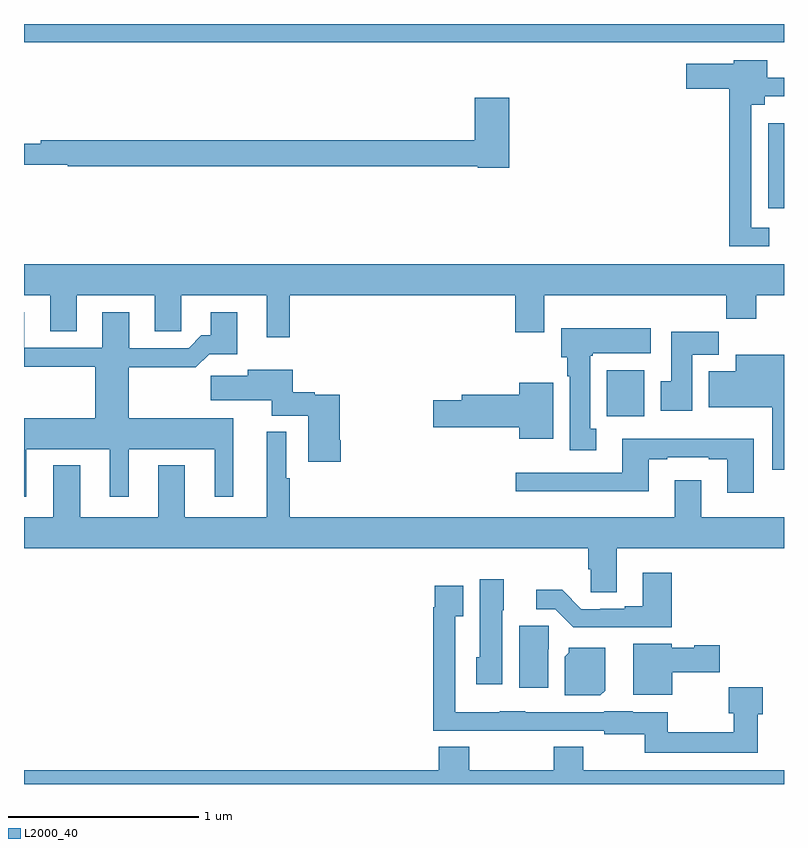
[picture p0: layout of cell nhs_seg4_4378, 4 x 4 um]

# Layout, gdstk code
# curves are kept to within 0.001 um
import gdstk
lib = gdstk.Library(unit=1e-6, precision=1e-09)
def R(c, l, rs):  # rectangles x0, y0, x1, y1
    for r in rs: c.add(gdstk.rectangle(r[:2], r[2:], *l))
def P(c, l, *ps):  # polygons
    for p in ps: c.add(gdstk.Polygon(p, *l))
L2000_40 = (2000, 40)

nhs_seg4_4378 = lib.new_cell('nhs_seg4_4378')
R(nhs_seg4_4378, L2000_40, [(348.068,810.836,348.265,811.078), (348.917,811.929,349,812.377), (345,812.804,349,812.9)])
P(nhs_seg4_4378, L2000_40, [(348.922,811.827),(348.828,811.827),(348.828,812.474),(348.898,812.474),(348.898,812.52),(349,812.52),(349,812.616),(348.913,812.616),(348.913,812.71),(348.735,812.71),(348.735,812.692),(348.486,812.692),(348.486,812.558),(348.712,812.558),(348.712,811.731),(348.922,811.731)],
  [(347.555,812.512),(347.372,812.512),(347.372,812.288),(345.088,812.288),(345.088,812.269),(345,812.269),(345,812.16),(345.23,812.16),(345.23,812.152),(347.388,812.152),(347.388,812.144),(347.555,812.144)],
  [(345,811.472),(345.137,811.472),(345.137,811.282),(345.277,811.282),(345.277,811.472),(345.689,811.472),(345.689,811.282),(345.828,811.282),(345.828,811.472),(346.277,811.472),(346.277,811.251),(346.399,811.251),(346.399,811.472),(347.585,811.472),(347.585,811.278),(347.737,811.278),(347.737,811.472),(348.697,811.472),(348.697,811.348),(348.854,811.348),(348.854,811.472),(349,811.472),(349,811.636),(345,811.636)],
  [(345.013,810.662),(345.452,810.662),(345.452,810.411),(345.55,810.411),(345.55,810.662),(346.004,810.662),(346.004,810.411),(346.102,810.411),(346.102,810.826),(345.552,810.826),(345.552,811.094),(345.905,811.094),(345.974,811.163),(346.123,811.163),(346.123,811.384),(345.983,811.384),(345.983,811.261),(345.934,811.261),(345.867,811.194),(345.553,811.194),(345.553,811.384),(345.413,811.384),(345.413,811.197),(345.001,811.197),(345,811.384),(345,811.096),(345.374,811.096),(345.374,810.826),(345,810.826),(345,810.411),(345.013,810.411)],
  [(348.013,810.77),(347.98,810.77),(347.98,811.153),(347.994,811.153),(347.994,811.166),(348.298,811.166),(348.298,811.3),(347.828,811.3),(347.828,811.146),(347.858,811.146),(347.858,811.046),(347.873,811.046),(347.873,810.657),(348.013,810.657)],
  [(348.517,811.16),(348.656,811.16),(348.656,811.279),(348.407,811.279),(348.407,811.02),(348.35,811.02),(348.35,810.864),(348.517,810.864)],
  [(349,811.159),(348.746,811.159),(348.746,811.072),(348.605,811.072),(348.605,810.884),(348.938,810.884),(348.938,810.555),(349,810.555)],
  [(346.667,810.709),(346.662,810.709),(346.662,810.949),(346.53,810.949),(346.53,810.962),(346.414,810.962),(346.414,811.081),(346.178,811.081),(346.178,811.049),(345.984,811.049),(345.984,810.92),(346.304,810.92),(346.304,810.839),(346.496,810.839),(346.496,810.597),(346.667,810.597)],
  [(347.785,811.012),(347.606,811.012),(347.606,810.95),(347.303,810.95),(347.303,810.92),(347.154,810.92),(347.154,810.778),(347.606,810.778),(347.606,810.716),(347.785,810.716)],
  [(348.121,810.14),(349,810.14),(349,810.304),(348.565,810.304),(348.565,810.499),(348.425,810.499),(348.425,810.304),(346.399,810.304),(346.399,810.509),(346.381,810.509),(346.381,810.754),(346.277,810.754),(346.277,810.304),(345.847,810.304),(345.847,810.577),(345.707,810.577),(345.707,810.304),(345.295,810.304),(345.295,810.577),(345.155,810.577),(345.155,810.304),(345,810.304),(345,810.14),(347.969,810.14),(347.969,810.03),(347.982,810.03),(347.982,809.908),(348.121,809.908)],
  [(348.841,810.718),(348.149,810.718),(348.149,810.537),(347.589,810.537),(347.589,810.44),(348.289,810.44),(348.289,810.609),(348.385,810.609),(348.385,810.621),(348.605,810.621),(348.605,810.609),(348.701,810.609),(348.701,810.432),(348.841,810.432)],
  [(348.41,810.013),(348.257,810.013),(348.257,809.836),(348.161,809.836),(348.161,809.823),(348.034,809.823),(348.034,809.82),(347.934,809.82),(347.832,809.923),(347.697,809.923),(347.697,809.82),(347.796,809.82),(347.89,809.726),(348.41,809.726)],
  [(347.518,809.814),(347.524,809.814),(347.524,809.977),(347.399,809.977),(347.399,809.568),(347.381,809.568),(347.381,809.424),(347.518,809.424)],
  [(348.863,809.266),(348.887,809.266),(348.887,809.408),(348.709,809.408),(348.709,809.273),(348.735,809.273),(348.735,809.173),(348.388,809.173),(348.388,809.278),(348.204,809.278),(348.204,809.284),(348.054,809.284),(348.054,809.277),(347.637,809.277),(347.637,809.284),(347.505,809.284),(347.505,809.278),(347.271,809.278),(347.271,809.783),(347.311,809.783),(347.311,809.944),(347.163,809.944),(347.163,809.831),(347.155,809.831),(347.155,809.181),(347.405,809.181),(347.405,809.18),(347.637,809.18),(347.637,809.181),(348.054,809.181),(348.054,809.162),(348.267,809.162),(348.267,809.064),(348.863,809.064)],
  [(347.758,809.61),(347.762,809.61),(347.762,809.733),(347.606,809.733),(347.606,809.406),(347.758,809.406)],
  [(348.412,809.488),(348.661,809.488),(348.661,809.63),(348.528,809.63),(348.528,809.617),(348.408,809.617),(348.408,809.638),(348.206,809.638),(348.206,809.369),(348.412,809.369)],
  [(348.058,809.392),(348.058,809.617),(347.868,809.617),(347.868,809.592),(347.846,809.57),(347.846,809.366),(348.032,809.366)],
  [(349,808.972),(347.943,808.972),(347.943,809.096),(347.788,809.096),(347.788,808.972),(347.343,808.972),(347.343,809.096),(347.183,809.096),(347.183,808.972),(345,808.972),(345,808.9),(349,808.9)])

lib.write_gds('nhs_seg4_4378.gds')
